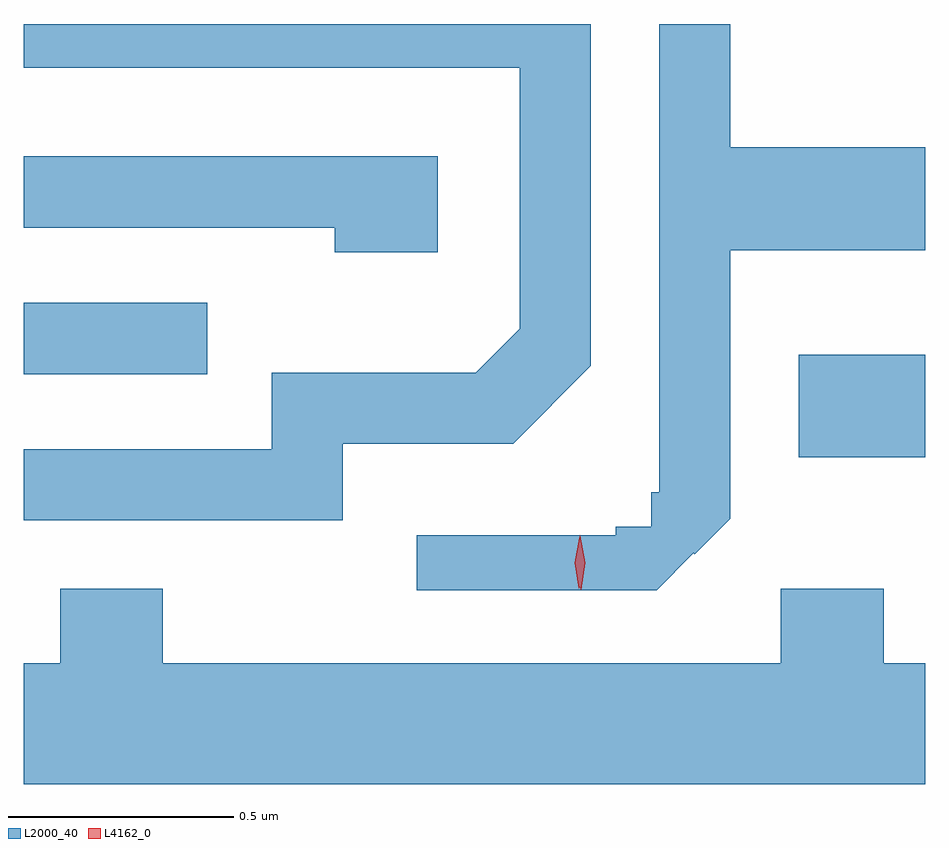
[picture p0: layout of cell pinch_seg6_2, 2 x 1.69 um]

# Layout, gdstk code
import gdstk
lib = gdstk.Library(unit=1e-6, precision=1e-09)
def R(c, l, rs):  # rectangles x0, y0, x1, y1
    for r in rs: c.add(gdstk.rectangle(r[:2], r[2:], *l))
def P(c, l, *ps):  # polygons
    for p in ps: c.add(gdstk.Polygon(p, *l))
L2000_40 = (2000, 40)
L4162_0 = (4162, 0)

pinch_seg6_2 = lib.new_cell('pinch_seg6_2')
R(pinch_seg6_2, L2000_40, [(838.881,1566.301,839.161,1566.529), (837.161,1566.486,837.568,1566.644)])
P(pinch_seg6_2, L2000_40, [(837.869,1566.331),(838.247,1566.331),(838.419,1566.504),(838.419,1567.263),(837.161,1567.263),(837.161,1567.166),(838.261,1567.166),(838.261,1566.587),(838.164,1566.489),(837.711,1566.489),(837.711,1566.319),(837.161,1566.319),(837.161,1566.161),(837.869,1566.161)],
  [(838.647,1566.088),(838.65,1566.086),(838.729,1566.165),(838.729,1566.761),(839.161,1566.761),(839.161,1566.989),(838.729,1566.989),(838.729,1567.263),(838.571,1567.263),(838.571,1566.224),(838.553,1566.224),(838.553,1566.147),(838.475,1566.147),(838.475,1566.128),(838.033,1566.128),(838.033,1566.006),(838.565,1566.006)],
  [(838.079,1566.969),(837.161,1566.969),(837.161,1566.811),(837.851,1566.811),(837.851,1566.756),(838.079,1566.756)],
  [(839.161,1565.844),(839.069,1565.844),(839.069,1566.009),(838.841,1566.009),(838.841,1565.844),(837.469,1565.844),(837.469,1566.009),(837.241,1566.009),(837.241,1565.844),(837.161,1565.844),(837.161,1565.576),(839.161,1565.576)])
P(pinch_seg6_2, L4162_0, [(838.392,1566.011),(838.383,1566.067),(838.393,1566.122),(838.393,1566.123),(838.394,1566.122),(838.403,1566.067),(838.393,1566.011),(838.393,1566.011)],
  [(838.397,1566.007),(838.387,1566.067),(838.395,1566.127),(838.396,1566.127),(838.396,1566.127),(838.407,1566.067),(838.398,1566.007),(838.398,1566.007)])

lib.write_gds('pinch_seg6_2.gds')
